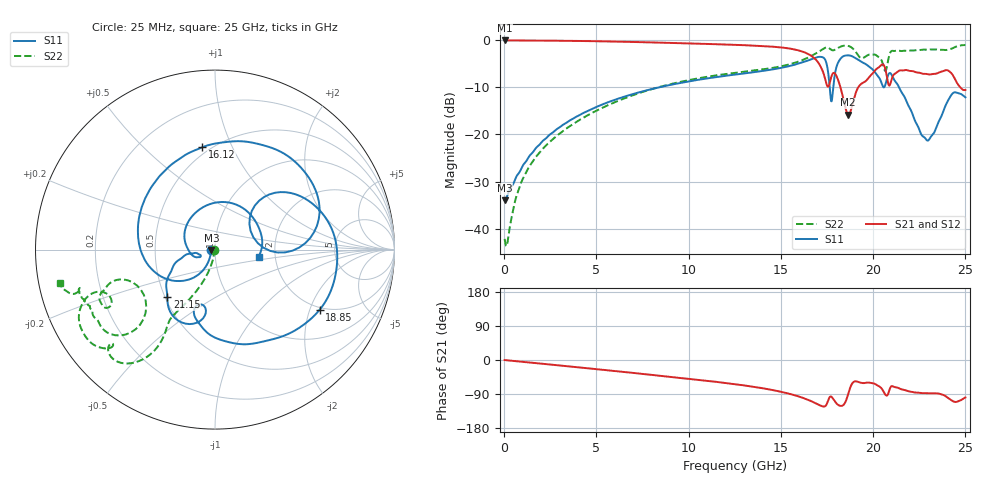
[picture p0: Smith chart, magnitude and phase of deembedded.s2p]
! BV_vna_clk_w5: 3D, de-embedded (matched 2x-thru)
# Hz S RI R 50
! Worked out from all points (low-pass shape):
!   1000 points, 25 MHz to 25 GHz, reference 50 ohm
!   highest |S21| = -0.12 dB at 25 MHz (marker M1); lowest = -15.8 dB at 18.65 GHz (marker M2)
!   |S21| within 3 dB of the highest: start of sweep to 16.54 GHz
!   lowest |S11| = -33.9 dB at 25 MHz (marker M3), VSWR 1.04, Z = 48 - j0.158 ohm
!   |S11| at or under -10 dB: start of sweep to 8.455 GHz; 17.64 GHz to 17.84 GHz (194.3 MHz wide, 1.1 % of centre); 21.4 GHz to end of sweep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
!   |S22| runs from -43.7 to -1.1 dB; largest |S21 - S12| = 0.0034
!   S11 on the Smith chart (normalised r, x): 25 MHz: 0.96, -0.00; 16.12 GHz: 0.46, +0.78; 18.85 GHz: 1.92, -2.34; 21.15 GHz: 0.51, -0.32; 25 GHz: 1.63, -0.14
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2.5e7  -0.0201 -0.00165  0.9865 -0.00226  0.9862 -0.00212  -0.00782 0.000227
1.375e9  -0.0309 -0.0506  0.9781 -0.1128  0.9781 -0.1132  -0.00951 -0.0451
4.2e9  -0.0904 -0.1379  0.913 -0.3365  0.9132 -0.3368  -0.0444 -0.1395
8.35e9  -0.2661 -0.1646  0.7081 -0.6132  0.7082 -0.613  -0.1452 -0.2793
1.2525e10  -0.4268 0.0516  0.39 -0.796  0.3899 -0.7962  -0.2419 -0.3776
1.47e10  -0.3637 0.3332  0.1362 -0.8324  0.1357 -0.8324  -0.2688 -0.4351
1.6125e10  -0.0702 0.5703  -0.115 -0.7483  -0.1155 -0.7482  -0.3071 -0.5236
1.6675e10  0.1834 0.6001  -0.223 -0.6345  -0.2225 -0.6348  -0.3564 -0.5803
1.735e10  0.5781 0.2709  -0.2265 -0.351  -0.2258 -0.3509  -0.5161 -0.6324
1.7575e10  0.4319 -0.00597  -0.0827 -0.3107  -0.0833 -0.3102  -0.5912 -0.5774
1.775e10  0.1984 0.1037  -0.0545 -0.4122  -0.0539 -0.4127  -0.5803 -0.524
1.8075e10  0.4756 0.2977  -0.1787 -0.3445  -0.1779 -0.3446  -0.6051 -0.5508
1.865e10  0.6618 -0.1811  0.0017 -0.1615  0.00114 -0.1608  -0.7509 -0.4256
1.885e10  0.5833 -0.3349  0.0893 -0.1757  0.0895 -0.1767  -0.7528 -0.3361
1.9625e10  0.1556 -0.5274  0.1853 -0.3211  0.1843 -0.3218  -0.592 -0.3219
2.05e10  -0.1056 -0.3143  0.1146 -0.5397  0.1157 -0.5388  -0.5521 -0.17
2.085e10  -0.1409 -0.415  0.0341 -0.3294  0.0352 -0.3283  -0.4692 -0.4617
2.115e10  -0.2655 -0.2651  0.14 -0.4114  0.1398 -0.4098  -0.6516 -0.3968
2.2925e10  -0.0806 -0.0308  0.0173 -0.4348  0.0172 -0.4326  -0.7465 -0.255
2.3875e10  -0.1702 0.0872  -0.0314 -0.4733  -0.0338 -0.4744  -0.7517 -0.2154
2.4275e10  0.0329 0.2651  -0.1293 -0.4159  -0.132 -0.4149  -0.7737 -0.2424
2.5e10  0.2433 -0.0416  -0.0455 -0.2913  -0.0482 -0.2892  -0.862 -0.1881
